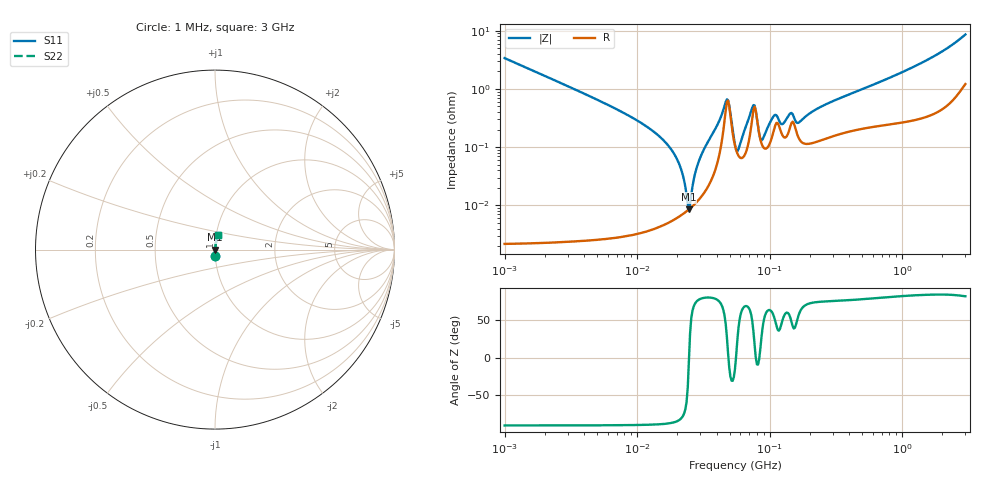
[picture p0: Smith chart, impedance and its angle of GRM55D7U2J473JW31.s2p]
!Murata Part Number: GRM55D7U2J473JW31
!These Parameters are Measured in Series Mode Connection
!Data Generated on Mar 30, 2021
!  o--ll--o
!Port1  Port2
!  o------o
!Operation Temp=25[degC], DC Bias Voltage=0[V]
!Freq. Start=1000[kHz] Stop=3[GHz] 401[Steps]
# Hz S RI R 50
!Freq.(Hz) S11(Real) S11(Imag) S21(Real) S21(Imag) S12(Real) S12(Imag) S22(Real) S22(Imag)
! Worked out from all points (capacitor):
!   401 points, 1 MHz to 3 GHz, reference 50 ohm
!   read as one part in series: C = 47 nF near 1.041 MHz
!   lowest |Z| = 8.56 mohm at 24.6 MHz (marker M1)
!   series resonance near 24.64 MHz, so ESL is about 890 pH
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1000000  0.00116 -0.0338  0.9988 0.0338  0.9988 0.0338  0.00116 -0.0338
3823119  9.95e-05 -0.00866  0.9999 0.00866  0.9999 0.00866  9.95e-05 -0.00866
1.461624e7  4.47e-05 -0.00155  1 0.00155  1 0.00155  4.47e-05 -0.00155
2.013356e7  6.17e-05 -0.000599  0.9999 0.000599  0.9999 0.000599  6.17e-05 -0.000599
2.181181e7  6.94e-05 -0.000365  0.9999 0.000365  0.9999 0.000365  6.94e-05 -0.000365
2.45951e7  8.54e-05 -5.7e-06  0.9999 5.7e-06  0.9999 5.7e-06  8.54e-05 -5.7e-06
2.944989e7  0.000128 0.000589  0.9999 -0.000589  0.9999 -0.000589  0.000128 0.000589
4.666789e7  0.00433 0.00414  0.9957 -0.00414  0.9957 -0.00414  0.00433 0.00414
4.955604e7  0.00504 -0.00115  0.995 0.00115  0.995 0.00115  0.00504 -0.00115
5.477226e7  0.00106 -0.000273  0.9989 0.000273  0.9989 0.000273  0.00106 -0.000273
5.816196e7  0.000711 0.000587  0.9993 -0.000587  0.9993 -0.000587  0.000711 0.000587
7.544761e7  0.00432 0.00301  0.9957 -0.00301  0.9957 -0.00301  0.00432 0.00301
7.852918e7  0.00427 4.28e-05  0.9957 -4.28e-05  0.9957 -4.28e-05  0.00427 4.28e-05
8.338914e7  0.00169 -4.64e-05  0.9983 4.64e-05  0.9983 4.64e-05  0.00169 -4.64e-05
8.679508e7  0.00116 0.000605  0.9988 -0.000605  0.9988 -0.000605  0.00116 0.000605
1.081723e8  0.00206 0.00281  0.9979 -0.00281  0.9979 -0.00281  0.00206 0.00281
1.244416e8  0.00163 0.00186  0.9984 -0.00186  0.9984 -0.00186  0.00163 0.00186
1.460522e8  0.00259 0.00287  0.9974 -0.00287  0.9974 -0.00287  0.00259 0.00287
1.646891e8  0.00148 0.00216  0.9985 -0.00216  0.9985 -0.00216  0.00148 0.00216
2.094008e8  0.00118 0.00388  0.9988 -0.00388  0.9988 -0.00388  0.00118 0.00388
8.005644e8  0.00267 0.0152  0.9973 -0.0152  0.9973 -0.0152  0.00267 0.0152
3e9  0.0189 0.0826  0.9811 -0.0826  0.9811 -0.0826  0.0189 0.0826
